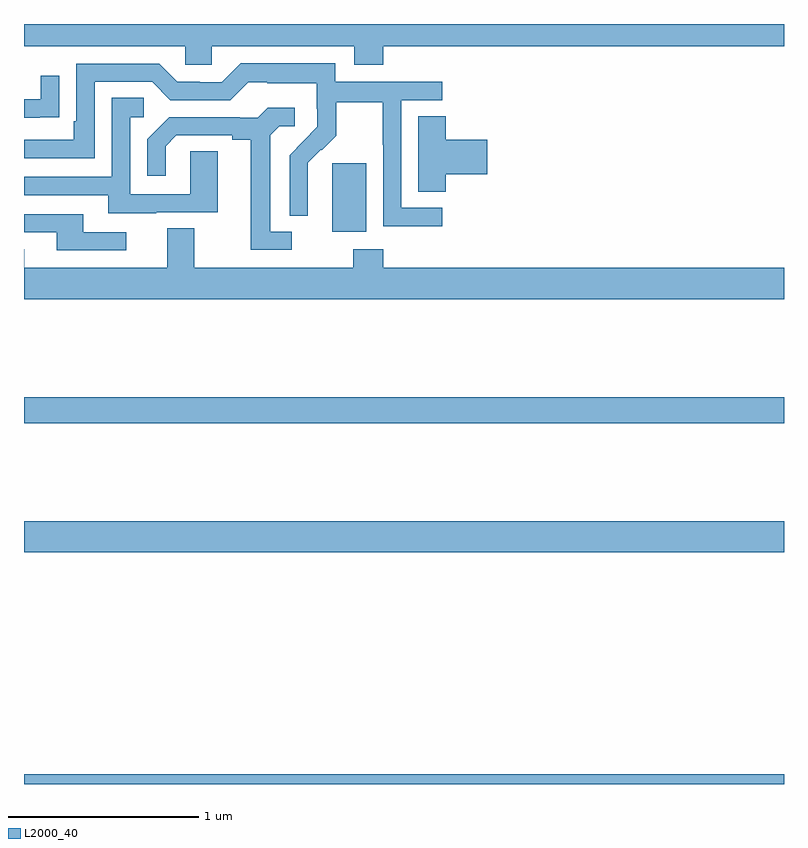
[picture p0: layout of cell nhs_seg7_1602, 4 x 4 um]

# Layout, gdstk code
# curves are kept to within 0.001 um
import gdstk
lib = gdstk.Library(unit=1e-6, precision=1e-09)
def R(c, l, rs):  # rectangles x0, y0, x1, y1
    for r in rs: c.add(gdstk.rectangle(r[:2], r[2:], *l))
def P(c, l, *ps):  # polygons
    for p in ps: c.add(gdstk.Polygon(p, *l))
L2000_40 = (2000, 40)

nhs_seg7_1602 = lib.new_cell('nhs_seg7_1602')
R(nhs_seg7_1602, L2000_40, [(219,1062,223,1062.052), (219,1063.22,223,1063.384), (219,1063.9,223,1064.036), (220.622,1064.906,220.801,1065.267)])
P(nhs_seg7_1602, L2000_40, [(220.892,1065.884),(223,1065.884),(223,1066),(219,1066),(219,1065.884),(219.849,1065.884),(219.849,1065.786),(219.987,1065.786),(219.987,1065.884),(220.739,1065.884),(220.739,1065.785),(220.892,1065.785)],
  [(221.2,1065.033),(220.986,1065.033),(220.986,1065.6),(221.2,1065.6),(221.2,1065.696),(220.638,1065.696),(220.638,1065.793),(220.141,1065.793),(220.041,1065.693),(219.926,1065.693),(219.926,1065.696),(219.807,1065.696),(219.711,1065.792),(219.276,1065.792),(219.276,1065.487),(219.263,1065.487),(219.263,1065.39),(219,1065.39),(219,1065.294),(219.372,1065.294),(219.372,1065.696),(219.675,1065.696),(219.771,1065.6),(220.086,1065.6),(220.179,1065.693),(220.279,1065.693),(220.279,1065.689),(220.542,1065.689),(220.542,1065.555),(220.544,1065.555),(220.544,1065.458),(220.398,1065.31),(220.398,1064.992),(220.494,1064.992),(220.493,1065.269),(220.563,1065.339),(220.566,1065.336),(220.643,1065.413),(220.643,1065.588),(220.888,1065.588),(220.888,1065.364),(220.89,1065.364),(220.89,1064.935),(221.2,1064.935)],
  [(219.083,1065.508),(219.185,1065.508),(219.185,1065.727),(219.089,1065.727),(219.089,1065.603),(219,1065.603),(219,1065.507),(219.083,1065.507)],
  [(219.697,1065.009),(220.021,1065.009),(220.021,1065.329),(219.876,1065.329),(219.876,1065.105),(219.558,1065.105),(219.558,1065.51),(219.631,1065.51),(219.631,1065.611),(219.462,1065.611),(219.462,1065.195),(219,1065.195),(219,1065.099),(219.443,1065.099),(219.443,1065.005),(219.697,1065.005)],
  [(220.408,1064.907),(220.297,1064.907),(220.297,1065.415),(220.344,1065.462),(220.426,1065.462),(220.426,1065.559),(220.282,1065.559),(220.23,1065.507),(220.136,1065.507),(220.136,1065.51),(219.764,1065.51),(219.648,1065.394),(219.648,1065.201),(219.745,1065.201),(219.745,1065.357),(219.802,1065.414),(220.097,1065.414),(220.097,1065.392),(220.193,1065.392),(220.193,1064.811),(220.408,1064.811)],
  [(221.219,1065.209),(221.437,1065.209),(221.437,1065.392),(221.219,1065.392),(221.219,1065.515),(221.075,1065.515),(221.075,1065.118),(221.219,1065.118)],
  [(219.538,1064.904),(219.313,1064.904),(219.313,1065),(219,1065),(219,1064.904),(219.173,1064.904),(219.173,1064.808),(219.538,1064.808)],
  [(223,1064.716),(220.892,1064.716),(220.892,1064.815),(220.732,1064.815),(220.732,1064.716),(219.895,1064.716),(219.895,1064.924),(219.755,1064.924),(219.755,1064.716),(219.001,1064.716),(219.001,1064.815),(219,1064.815),(219,1064.552),(223,1064.552)])

lib.write_gds('nhs_seg7_1602.gds')
